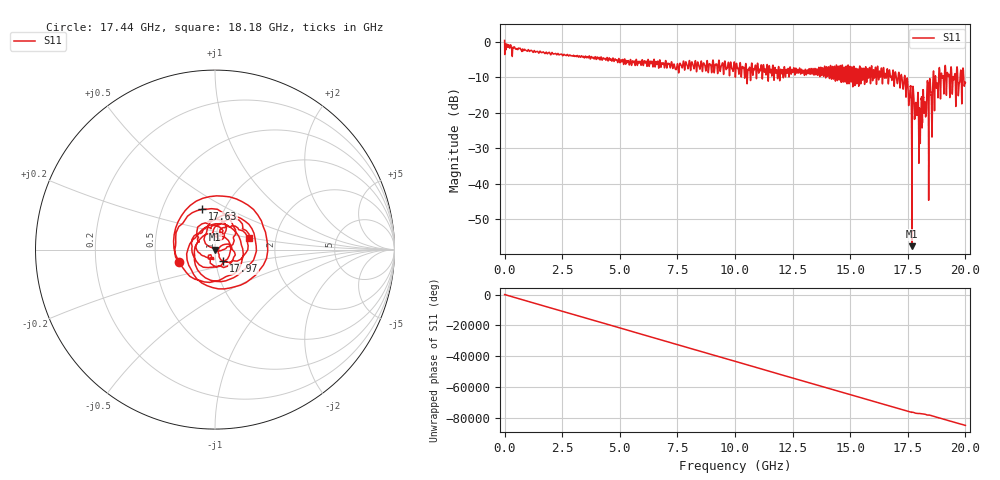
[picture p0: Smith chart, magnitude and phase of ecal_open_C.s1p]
! MS46122B
! 2250307/22442219
! 7/24/2025 7:34:27 AM
! C:\USERS\SPARKY\DOCUMENTS\VNA_DATA\JULY24_2025\3K\ECAL_OPEN_C.S1P
! CHANNEL.1
! TR.MEASUREMENT
! RAW.DATA
# GHZ S RI R 50.0
! FREQ.GHZ  S11RE  S11IM
!; PortSelection: Port_1
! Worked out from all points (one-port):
!   10001 points, 1 MHz to 20 GHz, reference 50 ohm
!   lowest |S11| = -57.6 dB at 17.68 GHz (marker M1), VSWR 1.00, Z = 50.1 - j0.0806 ohm
!   |S11| at or under -10 dB: 17.25 GHz to 17.35 GHz (104.7 MHz wide, 0.605 % of centre); 17.38 GHz to 18.59 GHz (1.213 GHz wide, 6.74 % of centre); 18.71 GHz to 18.84 GHz (129.6 MHz wide, 0.69 % of centre) (the widest 3 of 60)
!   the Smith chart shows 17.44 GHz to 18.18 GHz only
!   S11 on the Smith chart (normalised r, x): 17.44 GHz: 0.66, -0.10; 17.63 GHz: 0.79, +0.38; 17.97 GHz: 1.09, -0.14; 18.18 GHz: 1.46, +0.19
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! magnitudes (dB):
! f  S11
! 1 MHz  0.4
! 2.501 GHz  -3.7
! 5.001 GHz  -5.8
! 7.501 GHz  -6.1
! 10 GHz  -8.0
! 10.6 GHz  -7.9
! 12.5 GHz  -8.4
! 15 GHz  -7.1
! 16.53 GHz  -8.9
! 17.44 GHz  -13.5
! 17.5 GHz  -12.0
! 17.55 GHz  -16.6
! 17.59 GHz  -14.0
! 17.63 GHz  -12.6
! 17.68 GHz  -57.6
! 17.75 GHz  -14.4
! 17.8 GHz  -21.1
! 17.97 GHz  -22.0
! 18.06 GHz  -21.7
! 18.18 GHz  -13.9
! 18.32 GHz  -15.4
! 18.42 GHz  -18.4
! 18.48 GHz  -12.5
! 18.53 GHz  -19.6
! 18.58 GHz  -12.4
! 18.68 GHz  -12.4
! 18.94 GHz  -11.1
! 20 GHz  -11.5
